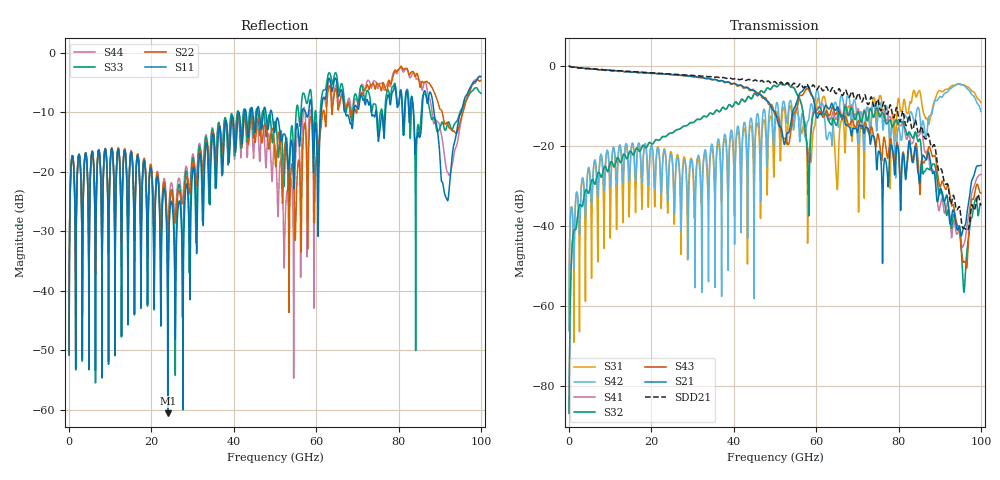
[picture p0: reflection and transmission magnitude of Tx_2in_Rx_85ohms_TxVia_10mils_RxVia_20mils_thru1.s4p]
! Info: Touchstone file created by Circ.  Input file=Tx_2in_Rx_85ohms_TxVia_10mils_RxVia_20mils.circ
# Hz S RI R 50
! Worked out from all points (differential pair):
!   10000 points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, 10 MHz to 100 GHz, reference 50 ohm
!   strongest paths, dB at 10 MHz, 25.01 GHz, 50.01 GHz, 75.01 GHz, 100 GHz:
!     S21: 0.0, -2.1, -11.5, -22.1, -24.9
!     S43: 0.0, -2.2, -12.3, -17.0, -31.8
!     S32: -87.0, -16.8, -4.9, -11.2, -34.7
!     S41: -87.0, -16.7, -4.9, -10.7, -27.1
!     S42: -66.3, -23.1, -12.7, -11.8, -11.4
!     S31: -66.3, -22.8, -16.2, -10.9, -9.1
!   taken as a pair (ports 1,3 in; 2,4 out), SDD21 dB: 0.0, -2.0, -3.9, -8.5, -34.9
!   lowest |S11| = -60.6 dB at 23.96 GHz (marker M1), VSWR 1.00, Z = 50.1 - j0.0768 ohm
!   |S11| at or under -10 dB: start of sweep to 41.16 GHz; 49.22 GHz to 56.57 GHz (7.346 GHz wide, 13.9 % of centre); 88.6 GHz to 95.25 GHz (6.656 GHz wide, 7.24 % of centre)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
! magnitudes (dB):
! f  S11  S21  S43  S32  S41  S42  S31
! 10 MHz  -50.7  0.0  0.0  -87.0  -87.0  -66.3  -66.3
! 980 MHz  -17.8  -0.3  -0.3  -42.2  -42.2  -40.5  -40.9
! 3.98 GHz  -16.9  -0.6  -0.6  -31.2  -31.2  -37.8  -55.7
! 23.96 GHz  -60.6  -2.0  -2.0  -17.2  -17.2  -34.0  -36.6
! 80.68 GHz  -6.8  -29.5  -26.4  -14.1  -14.9  -18.6  -11.2
! 95.89 GHz  -8.1  -40.3  -49.1  -56.7  -44.6  -4.9  -4.7
! 100 GHz  -4.1  -24.9  -31.8  -34.7  -27.1  -11.4  -9.1
